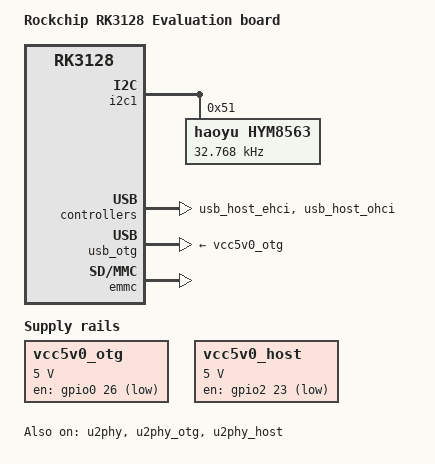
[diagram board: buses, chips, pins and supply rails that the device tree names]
// SPDX-License-Identifier: GPL-2.0+
/*
 * (C) Copyright 2017 Rockchip Electronics Co., Ltd
 */

/dts-v1/;

#include "rk3128.dtsi"

/ {
	model = "Rockchip RK3128 Evaluation board";
	compatible = "rockchip,rk3128-evb", "rockchip,rk3128";

	chosen {
		stdout-path = &uart2;
	};

	vcc5v0_otg: vcc5v0-otg-drv {
		compatible = "regulator-fixed";
		regulator-name = "vcc5v0_otg";
		gpio = <&gpio0 26 GPIO_ACTIVE_HIGH>;
		pinctrl-names = "default";
		pinctrl-0 = <&otg_vbus_drv>;
		regulator-min-microvolt = <5000000>;
		regulator-max-microvolt = <5000000>;
	};

	vcc5v0_host: vcc5v0-host-drv {
		compatible = "regulator-fixed";
		regulator-name = "vcc5v0_host";
		gpio = <&gpio2 23 GPIO_ACTIVE_HIGH>;
		pinctrl-names = "default";
		pinctrl-0 = <&host_vbus_drv>;
		regulator-min-microvolt = <5000000>;
		regulator-max-microvolt = <5000000>;
		regulator-always-on;
	};
};

&i2c1 {
	status = "okay";

	hym8563: hym8563@51 {
		compatible = "haoyu,hym8563";
		reg = <0x51>;
		#clock-cells = <0>;
		clock-frequency = <32768>;
		clock-output-names = "xin32k";
	};
};

&u2phy {
	status = "okay";
};

&u2phy_otg {
	status = "okay";
};

&u2phy_host {
	status = "okay";
};

&usb_host_ehci {
	status = "okay";
};

&usb_host_ohci {
	status = "okay";
};

&usb_otg {
	vbus-supply = <&vcc5v0_otg>;
	status = "okay";
};

&emmc {
	fifo-mode;
	status = "okay";
};

&pinctrl {
	usb_otg {
		otg_vbus_drv: host-vbus-drv {
			rockchip,pins = <0 26 RK_FUNC_GPIO &pcfg_pull_none>;
		};
	};

	usb_host {
		host_vbus_drv: host-vbus-drv {
			rockchip,pins = <2 23 RK_FUNC_GPIO &pcfg_pull_none>;
		};
	};
};
